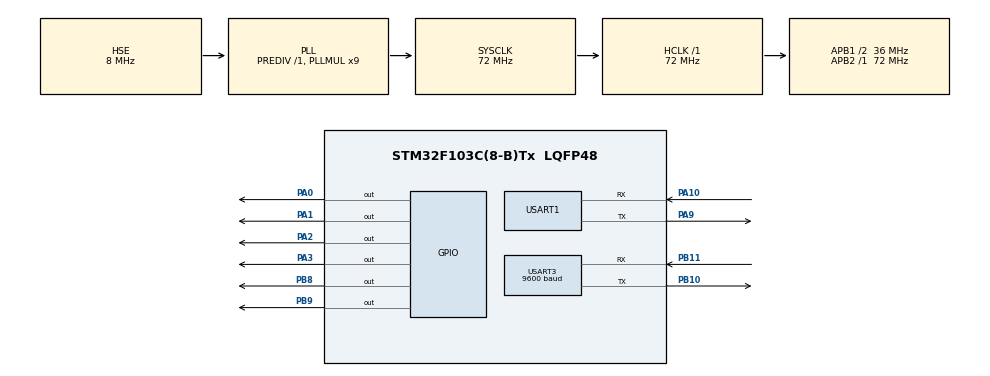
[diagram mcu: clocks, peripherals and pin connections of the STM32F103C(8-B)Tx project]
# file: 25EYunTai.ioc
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Mcu.Family=STM32F1
Mcu.Name=STM32F103C(8-B)Tx
Mcu.Package=LQFP48
NVIC.PriorityGroup=NVIC_PRIORITYGROUP_4
NVIC.USART1_IRQn=true\:1\:0\:true\:false\:true\:true\:true\:true
NVIC.USART3_IRQn=true\:0\:0\:false\:false\:true\:true\:true\:true
PA0-WKUP.GPIO_Speed=GPIO_SPEED_FREQ_HIGH
PA0-WKUP.Signal=GPIO_Output
PA1.GPIO_ModeDefaultOutputPP=GPIO_MODE_OUTPUT_PP
PA1.GPIO_PuPd=GPIO_NOPULL
PA1.GPIO_Speed=GPIO_SPEED_FREQ_HIGH
PA1.PinState=GPIO_PIN_RESET
PA1.Signal=GPIO_Output
PA10.Mode=Asynchronous
PA10.Signal=USART1_RX
PA13.Mode=Serial_Wire
PA13.Signal=SYS_JTMS-SWDIO
PA14.Mode=Serial_Wire
PA14.Signal=SYS_JTCK-SWCLK
PA2.GPIO_ModeDefaultOutputPP=GPIO_MODE_OUTPUT_PP
PA2.GPIO_PuPd=GPIO_NOPULL
PA2.GPIO_Speed=GPIO_SPEED_FREQ_HIGH
PA2.PinState=GPIO_PIN_RESET
PA2.Signal=GPIO_Output
PA3.GPIO_ModeDefaultOutputPP=GPIO_MODE_OUTPUT_PP
PA3.GPIO_PuPd=GPIO_NOPULL
PA3.GPIO_Speed=GPIO_SPEED_FREQ_HIGH
PA3.PinState=GPIO_PIN_RESET
PA3.Signal=GPIO_Output
PA9.Mode=Asynchronous
PA9.Signal=USART1_TX
PB10.Mode=Asynchronous
PB10.Signal=USART3_TX
PB11.Mode=Asynchronous
PB11.Signal=USART3_RX
PB8.GPIO_ModeDefaultOutputPP=GPIO_MODE_OUTPUT_OD
PB8.GPIO_PuPd=GPIO_NOPULL
PB8.GPIO_Speed=GPIO_SPEED_FREQ_HIGH
PB8.PinState=GPIO_PIN_RESET
PB8.Signal=GPIO_Output
PB9.GPIO_ModeDefaultOutputPP=GPIO_MODE_OUTPUT_OD
PB9.GPIO_PuPd=GPIO_NOPULL
PB9.GPIO_Speed=GPIO_SPEED_FREQ_HIGH
PB9.PinState=GPIO_PIN_RESET
PB9.Signal=GPIO_Output
PD0-OSC_IN.Mode=HSE-External-Oscillator
PD0-OSC_IN.Signal=RCC_OSC_IN
PD1-OSC_OUT.Mode=HSE-External-Oscillator
PD1-OSC_OUT.Signal=RCC_OSC_OUT
ProjectManager.HeapSize=0x200
ProjectManager.StackSize=0x400
ProjectManager.TargetToolchain=CMake
RCC.AHBFreq_Value=72000000
RCC.APB1CLKDivider=RCC_HCLK_DIV2
RCC.APB1Freq_Value=36000000
RCC.APB1TimFreq_Value=72000000
RCC.APB2Freq_Value=72000000
RCC.APB2TimFreq_Value=72000000
RCC.HCLKFreq_Value=72000000
RCC.PLLMUL=RCC_PLL_MUL9
RCC.PLLSourceVirtual=RCC_PLLSOURCE_HSE
RCC.SYSCLKFreq_VALUE=72000000
RCC.SYSCLKSource=RCC_SYSCLKSOURCE_PLLCLK
RCC.USBFreq_Value=72000000
TIM2.Prescaler=72-1
USART1.VirtualMode=VM_ASYNC
USART3.BaudRate=9600
USART3.VirtualMode=VM_ASYNC
VP_TIM2_VS_ClockSourceINT.Mode=Internal
board=custom

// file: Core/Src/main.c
/* USER CODE BEGIN Header */
/**
 ******************************************************************************
 * @file           : main.c
 * @brief          : Main program body
 ******************************************************************************
 * @attention
 *
 * Copyright (c) 2026 STMicroelectronics.
 * All rights reserved.
 *
 * This software is licensed under terms that can be found in the LICENSE file
 * in the root directory of this software component.
 * If no LICENSE file comes with this software, it is provided AS-IS.
 *
 ******************************************************************************
 */
/* USER CODE END Header */
#include "main.h"
#include "gpio.h"
#include "tim.h"
#include "usart.h"

/* USER CODE BEGIN Includes */
#include "OLED.h"
#include "PID.h"
#include "Serial.h"
/* [废弃] VOFA+ 上位机调参已停用，USART1 挪作循迹通信
#include "bsp_usart.h"
#include "vofa_usart.h"
*/
#include "Chassis.h"      /* 底盘转弯通信（USART1） */
#include "stepper_core.h" /* 步进电机核心层 */
#include <stdbool.h>
#include <string.h>

/* USER CODE END Includes */

/* USER CODE BEGIN PV */
#define Y_PIXEL_OFFSET 2
#define X_PIXEL_OFFSET 1
/* 步进电机句柄 */
static stepper_handle_t motor1 = NULL;
static stepper_handle_t motor2 = NULL;

extern float err_x;
extern float err_y;
extern PID_t pid_x, pid_y;
/* [废弃] extern uint8_t Usart_RxData; — VOFA 调参用，USART1 已挪作循迹通信 */

float PID_K[6] = {0.5f, 0.00f, 0.02f, 0.6f, 0.0f, 0.02f};
/* [废弃] uint8_t PID_index = 0; — VOFA 调参用，USART1 已挪作循迹通信 */

/* D 项历史误差（一阶差分 Kd*(e(k)-e(k-1))，独立于 PID 结构体） */
static float d_prev_err_x = 0.03f;
static float d_prev_err_y = 0.0f;
static uint8_t d_history_ready = 0; /* 0=复位, 1=正式开启 D 项 */

/* ===== 底盘转弯控制 ===== */
static uint8_t chassis_in_turn = 0;    /* 1=正在执行强制转弯 */
static uint8_t chassis_turn_state = 0; /* 当前弯编号 0-3（每圈 4 个直角弯） */
static int32_t turn_start_pos = 0;     /* 转弯起始步数 */
static int32_t turn_steps_abs = 0;     /* 本次目标步数绝对值 */

/* 每弯硬编码参数（四个弯可独立标定） */
#define TURN_STEPS_0 800 /* 弯1: +800步 = +90° CW */
#define TURN_STEPS_1 800 /* 弯2 */
#define TURN_STEPS_2 800 /* 弯3 */
#define TURN_STEPS_3 800 /* 弯4 */
#define TURN_RPM 15.0f   /* 强制转弯转速 */

static const int32_t turn_steps[4] = {TURN_STEPS_0, TURN_STEPS_1, TURN_STEPS_2,
                                      TURN_STEPS_3};
/* ===== 底盘转弯控制 END ===== */

/* [已清理] 以下旧变量已无引用，已删除：
 * volatile int16_t x_target_speed, y_target_speed;
 * uint8_t system_running;
 * float out_x, out_y, rpmX, rpmY;
 */

#define LOST_COOLDOWN_US 500000 /* 丢靶后冷却 0.5 秒再重启搜索 */
static uint8_t s_lost_cooldown_active = 0;
static uint32_t s_lost_cooldown_deadline = 0;
static uint32_t s_last_frame_us = 0;      /* 最后一帧到达时刻，通信看门狗用 */
static uint8_t s_first_frame_arrived = 0; /* 首帧到达标志，上电等待视觉就绪 */

static uint8_t uart1_rx_byte; /* USART1=循迹通信接收缓冲（原VOFA已废弃） */
static uint8_t uart3_rx_byte;

/* USER CODE END PV */

void SystemClock_Config(void);

/* USER CODE BEGIN 0 */
extern uint32_t get_tick_us(void);

/* [保留] 原分级调速函数（存在×1000硬跳变，已被 error_to_rpm 替代）
float speed_adjust(float output, float err) {
  float abs_err = fabs(err);
  if (abs_err > 3.0f) {
    return output * 1000.0f;
  } else if (abs_err > 1.0f) {
    return output;
  } else {
    return output * 0.8f;
  }
}
*/

/* ===== 连续增益：误差→RPM 直接映射 ===== */
#define DEAD_ZONE 0.0f        // 死区范围(px)
#define TRANSITION_HIGH 70.0f // 比例段终点(px)，此后饱和
#define MAX_RPM 30.0f         // 最大转速
/* [废弃] 旧分段参数，纯比例映射不再使用
#define MIN_RPM 1.0f          // 最小有效转速
#define TRANSITION_LOW 20.0f  // 线性段起点(px)
*/

/* 纯比例映射：rpm = (|err|/TRANSITION_HIGH) * MAX_RPM
   死区边界(0.4px)处 rpm=(0.4/70)*30=0.171，低于 stepper_core 钳位(0.3)，
   死区内误差无法突破 min_speed_rpm 钳位，电机不转。方向永远正比于误差。
*/
float error_to_rpm(float error) {
  float abs_err = fabs(error);
  float rpm;

  if (abs_err < DEAD_ZONE) {
    rpm = 0.0f;
  } else if (abs_err < TRANSITION_HIGH) {
    rpm = (abs_err / TRANSITION_HIGH) * MAX_RPM;
  } else {
    rpm = MAX_RPM;
  }

  return (error > 0) ? rpm : -rpm;
}

/* [废弃] VOFA_Send_Wave — USART1 已挪作循迹通信，VOFA 波形发送停用
void VOFA_Send_Wave(float ch1, float ch2, float ch3, float ch4, float ch5,
                    float ch6, float ch7, float ch8) {
  uint8_t send_buf[36] = {0};
  float data_buf[8] = {ch1, ch2, ch3, ch4, ch5, ch6, ch7, ch8};
  const uint8_t tail[4] = {0x00, 0x00, 0x80, 0x7F};

  memcpy(send_buf, data_buf, 32);
  memcpy(send_buf + 32, tail, 4);

  Usart_SendArray(DEBUG_USARTx, send_buf, 36);
}
===== [废弃] VOFA_Send_Wave END ===== */
/* USER CODE END 0 */

int main(void) {

  /* MCU Configuration--------------------------------------------------------*/

  /* Reset of all peripherals, Initializes the Flash interface and the Systick.
   */

  HAL_Init();

  /* Configure the system clock */
  SystemClock_Config();

  /* Initialize all configured peripherals */
  MX_GPIO_Init();
  MX_USART3_UART_Init();
  MX_TIM2_Init();
  MX_USART1_UART_Init();
  /* USER CODE BEGIN 2 */

  stepper_platform_init();
  stepper_port_pins_init(0, 1, 6); /* Y轴: PA0=STEP, PA1=DIR, PA6=EN */
  stepper_port_pins_init(2, 3, 5); /* X轴: PA2=STEP, PA3=DIR, PA5=EN */

  motor1 = stepper_core_create(0, 1, 6, 3200); /* Y轴, 3200步/转（1/16细分） */
  motor2 = stepper_core_create(2, 3, 5, 3200); /* X轴, 3200步/转（1/16细分） */

  if (motor1 == NULL || motor2 == NULL) {
    Error_Handler();
  }

   //OLED_Init();

  // OLED_ShowHexNum(4, 14, 4, 2);

  stepper_core_set_speed_nonblock(motor2, 0.0f);
  stepper_core_set_speed_nonblock(motor1, 0.0f);

  PID_Init(&pid_x, PID_K[0], PID_K[1], PID_K[2], 10000.0f, 200.0f);
  PID_Init(&pid_y, PID_K[3], PID_K[4], PID_K[5], 10000.0f, 200.0f);

   //OLED_ShowHexNum(4, 14, 4, 2);
   //OLED_ShowChar(1, 8, 'Y');
   //OLED_ShowChar(2, 8, 'X');

  stepper_core_enable(motor1, true);
  stepper_core_enable(motor2, true);

  /* USART1=循迹通信接收启动（原VOFA已废弃） */
  HAL_UART_Receive_IT(&huart1, &uart1_rx_byte, 1);
  HAL_UART_Receive_IT(&huart3, &uart3_rx_byte, 1);

  /* USER CODE END 2 */

  /* Infinite loop */
  /* USER CODE BEGIN WHILE */
  Search_Init();
  /* 搜索推迟到首帧到达后启动，避免摄像头未就绪时盲转 */
  while (1) {
    /* USER CODE END WHILE */

    /* USER CODE BEGIN 3 */

    /* 底盘转弯命令消费（镜像 Serial_GetRxFlag 模式） */
    if (Chassis_GetRxFlag()) {
      uint8_t cmd = Chassis_RxCmd;
      if (cmd == 'T' && !chassis_in_turn) {
        if (Search_IsRunning())
          Search_Stop(motor2, motor1);
        chassis_in_turn = 1;
        d_history_ready = 0; /* 进入转弯复位历史 */
        turn_start_pos = stepper_core_get_position(motor2);
        turn_steps_abs = (turn_steps[chassis_turn_state] >= 0)
                             ? turn_steps[chassis_turn_state]
                             : -turn_steps[chassis_turn_state];
        float rpm =
            (turn_steps[chassis_turn_state] >= 0) ? TURN_RPM : -TURN_RPM;
        stepper_core_set_speed_nonblock(motor2, rpm);
      } else if (cmd == 'E' && chassis_in_turn) {
        chassis_in_turn = 0;
        chassis_turn_state = (chassis_turn_state + 1) % 4;
        stepper_core_set_speed_nonblock(motor2, 0.0f);
        d_history_ready = 0; /* 出弯后复位历史 */
      }
    }

    /* [废弃] VOFA 调参帧处理 — USART1 已挪作循迹通信
    if (Usart_GetRxFlag() == 1) {
      PID_index = Get_id_Flag();
      if (PID_index >= 1 && PID_index <= 6) {
        PID_K[PID_index - 1] = RxPacket_Data_Handle();

        pid_x.Kp = PID_K[0];
        pid_x.Ki = PID_K[1];
        pid_x.Kd = PID_K[2];
        pid_y.Kp = PID_K[3];
        pid_y.Ki = PID_K[4];
        pid_y.Kd = PID_K[5];

        OLED_ShowChar(1, 10, '!');
        Usart_SendString(DEBUG_USARTx, "OK\r\n");
      }
    }
    ===== [废弃] VOFA 调参帧处理 END ===== */

    if (Serial_GetRxFlag() == 1) {
      /* 禁中断快照 volatile 变量，确保同一迭代内所有逻辑基于同一帧数据 */
      __disable_irq();
      const float sx = Serial_X;
      const float sy = Serial_Y;
      const int32_t sc = Serial_Const;
      __enable_irq();
      s_last_frame_us = get_tick_us(); /* 刷新通信看门狗时间戳 */

      /* 首帧到达：若未检测到靶子，立即启动搜索（跳过3秒冷却） */
      if (!s_first_frame_arrived) {
        s_first_frame_arrived = 1;
        if (sc == 0 && !Search_IsRunning() && !chassis_in_turn) {
          Search_Task(motor2, motor1);
        }
      }

      /* 无论搜索还是跟踪，都更新OLED显示 */
      // OLED_ShowSignedNum(1, 1, (int32_t)Serial_Y, 4);
       //OLED_ShowSignedNum(2, 1, (int32_t)Serial_X, 4);
      // OLED_ShowSignedNum(3, 1, Serial_Const, 4);

      if (sc == 1) {
        /* ===== 找到靶子 → PID跟踪 ===== */
        if (Search_IsRunning()) {
          Search_Stop(motor2, motor1);
          PID_Init(&pid_x, PID_K[0], PID_K[1], PID_K[2], 10000.0f, 200.0f);
          PID_Init(&pid_y, PID_K[3], PID_K[4], PID_K[5], 10000.0f, 200.0f);
          d_history_ready = 0; /* 重锁时废弃 D 项旧历史 */
        }

        err_x = sx + X_PIXEL_OFFSET;
        err_y = sy + Y_PIXEL_OFFSET;

        /* [保留] PID + speed_adjust 旧逻辑（已被 error_to_rpm 替代）
         * 如需恢复，取消以下注释并删除 error_to_rpm 调用
         *
         * float pid_out_x = Date(&pid_x, err_x);
         * float pid_out_y = Date(&pid_y, err_y);
         * pid_out_x = speed_adjust(pid_out_x, err_x);
         * pid_out_y = speed_adjust(pid_out_y, err_y);
         * float local_rpmX = (pid_out_x * 60.0f) / 800.0f;
         * float local_rpmY = (pid_out_y * 60.0f) / 800.0f;
         */

        /* X 轴：转弯中若识别到靶子，视觉接管替代盲走 TURN_RPM */
        float local_rpmX = error_to_rpm(err_x);
        if (d_history_ready >= 1) {
          float d_x = PID_K[2] * (err_x - d_prev_err_x);
          local_rpmX += d_x;
        }
        d_prev_err_x = err_x;
        stepper_core_set_speed_nonblock(motor2, local_rpmX);

        /* Y 轴：始终正常跟踪 */
        float local_rpmY = error_to_rpm(err_y);
        if (d_history_ready >= 1) {
          float d_y = PID_K[5] * (err_y - d_prev_err_y);
          local_rpmY += d_y;
        }
        d_prev_err_y = err_y;

        if (d_history_ready < 1)
          d_history_ready++;
        stepper_core_set_speed_nonblock(motor1, local_rpmY);

        /* [废弃] VOFA波形发送 — USART1 已挪作循迹通信
        static uint32_t last_t = 0;
        if (get_tick_us() - last_t >= 10000) {
          last_t = get_tick_us();
          VOFA_Send_Wave(err_x, err_y, local_rpmX, local_rpmY, 0, 0, DEAD_ZONE,
                         MAX_RPM);
        }
        ===== [废弃] VOFA波形发送 END ===== */
      }
    }

    /* 通信超时看门狗：500ms 无帧到达 → 强制丢靶
       移除 !chassis_in_turn 限制，转弯期间通信断开也应丢靶保护 */
    if (s_first_frame_arrived && !Search_IsRunning() &&
        (int32_t)(get_tick_us() - s_last_frame_us) >= 500000) {
      Serial_Const = 0;
    }

    /* 搜索超时检查/换向 + 丢靶后冷却重启 */
    if (Search_IsRunning() && !chassis_in_turn) {
      Search_Task(motor2, motor1);
      s_lost_cooldown_active = 0;
    } else if (s_first_frame_arrived && Serial_Const != 1) {
      if (chassis_in_turn) {
        /* 转弯期间脱靶/断连：Y轴停车，X轴回退盲走 TURN_RPM */
        stepper_core_set_speed_nonblock(motor1, 0.0f);
        float rpm = (turn_steps[chassis_turn_state] >= 0) ? TURN_RPM : -TURN_RPM;
        stepper_core_set_speed_nonblock(motor2, rpm);
        s_lost_cooldown_active = 0;
      } else {
        if (!s_lost_cooldown_active) {
          s_lost_cooldown_deadline = get_tick_us() + LOST_COOLDOWN_US;
          s_lost_cooldown_active = 1;
          /* 丢靶瞬间：Y轴停车，X轴减速到一半 */
          stepper_core_set_speed_nonblock(motor1, 0.0f);
          stepper_state_t x_state;
          stepper_core_get_state(motor2, &x_state);
          float signed_rpm_x = (x_state.direction == STEPPER_DIR_CW)
                                   ? x_state.speed_rpm
                                   : -x_state.speed_rpm;
          stepper_core_set_speed_nonblock(motor2, signed_rpm_x / 2.0f);
        } else if ((int32_t)(get_tick_us() - s_lost_cooldown_deadline) >= 0) {
          s_lost_cooldown_active = 0;
          Search_Task(motor2, motor1);
        }
      }
    } else {
      s_lost_cooldown_active = 0;
    }

    /* 强制转弯步数完成检测（'E' 信号丢失时的兜底停止） */
    if (chassis_in_turn) {
      int32_t cur = stepper_core_get_position(motor2);
      int32_t delta = (cur >= turn_start_pos) ? (cur - turn_start_pos)
                                              : (turn_start_pos - cur);
      if (delta >= turn_steps_abs) {
        chassis_in_turn = 0;
        chassis_turn_state = (chassis_turn_state + 1) % 4;
        stepper_core_set_speed_nonblock(motor2, 0.0f);
        d_history_ready = 0;
      }
    }

    /* 无条件驱动脉冲：无论跟踪/搜索/空闲，每次主循环都执行 */
    stepper_core_run_nonblock(motor2);
    stepper_core_run_nonblock(motor1);
  }
  /* USER CODE END 3 */
}

void SystemClock_Config(void) {
  RCC_OscInitTypeDef RCC_OscInitStruct = {0};
  RCC_ClkInitTypeDef RCC_ClkInitStruct = {0};

  /** Initializes the RCC Oscillators according to the specified parameters
   * in the RCC_OscInitTypeDef structure.
   */
  RCC_OscInitStruct.OscillatorType = RCC_OSCILLATORTYPE_HSE;
  RCC_OscInitStruct.HSEState = RCC_HSE_ON;
  RCC_OscInitStruct.HSEPredivValue = RCC_HSE_PREDIV_DIV1;
  RCC_OscInitStruct.HSIState = RCC_HSI_ON;
  RCC_OscInitStruct.PLL.PLLState = RCC_PLL_ON;
  RCC_OscInitStruct.PLL.PLLSource = RCC_PLLSOURCE_HSE;
  RCC_OscInitStruct.PLL.PLLMUL = RCC_PLL_MUL9;
  if (HAL_RCC_OscConfig(&RCC_OscInitStruct) != HAL_OK) {
    Error_Handler();
  }

  /** Initializes the CPU, AHB and APB buses clocks
   */
  RCC_ClkInitStruct.ClockType = RCC_CLOCKTYPE_HCLK | RCC_CLOCKTYPE_SYSCLK |
                                RCC_CLOCKTYPE_PCLK1 | RCC_CLOCKTYPE_PCLK2;
  RCC_ClkInitStruct.SYSCLKSource = RCC_SYSCLKSOURCE_PLLCLK;
  RCC_ClkInitStruct.AHBCLKDivider = RCC_SYSCLK_DIV1;
  RCC_ClkInitStruct.APB1CLKDivider = RCC_HCLK_DIV2;
  RCC_ClkInitStruct.APB2CLKDivider = RCC_HCLK_DIV1;

  if (HAL_RCC_ClockConfig(&RCC_ClkInitStruct, FLASH_LATENCY_2) != HAL_OK) {
    Error_Handler();
  }
}

/* USER CODE BEGIN 4 */
void HAL_UART_RxCpltCallback(UART_HandleTypeDef *huart) {
  if (huart->Instance == USART1) {
    chassis_process_byte(uart1_rx_byte);
    HAL_UART_Receive_IT(&huart1, &uart1_rx_byte, 1);
  } else if (huart->Instance == USART3) {
    serial_process_byte(uart3_rx_byte);
    HAL_UART_Receive_IT(&huart3, &uart3_rx_byte, 1);
  }
}

/* 串口错误回调：防止 ORE/FE 等硬件错误导致接收中断永久挂死 */
void HAL_UART_ErrorCallback(UART_HandleTypeDef *huart) {
  if (huart->Instance == USART1) {
    HAL_UART_Receive_IT(&huart1, &uart1_rx_byte, 1);
  } else if (huart->Instance == USART3) {
    HAL_UART_Receive_IT(&huart3, &uart3_rx_byte, 1);
  }
}
/* USER CODE END 4 */

void Error_Handler(void) {
  __disable_irq();
  while (1) {
  }
}
#ifdef USE_FULL_ASSERT
/**
 * @brief  Reports the name of the source file and the source line number
 *         where the assert_param error has occurred.
 * @param  file: pointer to the source file name
 * @param  line: assert_param error line source number
 * @retval None
 */
void assert_failed(uint8_t *file, uint32_t line) {
  /* USER CODE BEGIN 6 */
  /* User can add his own implementation to report the file name and line
     number, ex: printf("Wrong parameters value: file %s on line %d\r\n", file,
     line) */
  /* USER CODE END 6 */
}
#endif /* USE_FULL_ASSERT */
